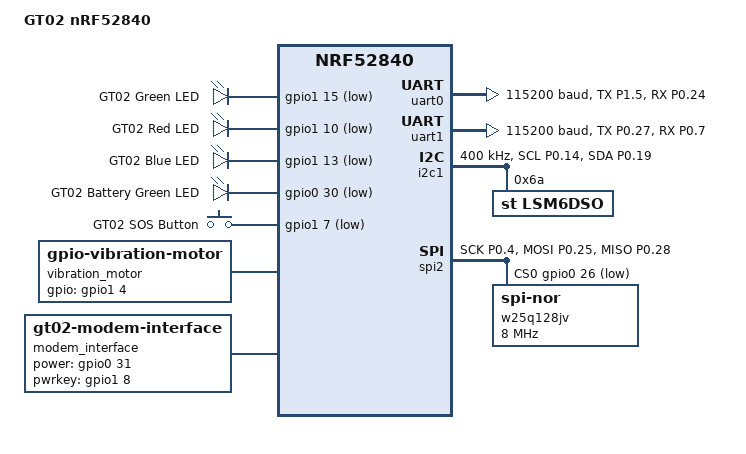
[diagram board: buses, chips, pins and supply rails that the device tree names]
/*
 * GT02 nRF52840板级设备树。
 *
 * DTS只描述真实存在的硬件及连接关系，不描述产品运行策略。
 * 当前包括内部存储器、基础GPIO、UART0日志口、4G硬件接口、LSM6DSO和外部Flash。
 *
 * SPDX-License-Identifier: Apache-2.0
 */

/* 声明这是一个完整的Devicetree源文件。 */
/dts-v1/;

/*
 * 继承Zephyr提供的nRF52840 QIAA SoC描述。
 * 该文件已经定义CPU、1 MB内部Flash、256 KB SRAM和片上外设控制器。
 */
#include <nordic/nrf52840_qiaa.dtsi>
/* 提供INPUT_KEY_0等标准输入事件编号。 */
#include <zephyr/dt-bindings/input/input-event-codes.h>
/* 提供NRF_PSEL()及UART/I2C/SPI引脚复用功能编号。 */
#include <zephyr/dt-bindings/pinctrl/nrf-pinctrl.h>

/* `/`表示整棵设备树的根节点，也就是当前GT02整板。 */
/ {
	/* 人类可读的板型名称，会进入最终生成的设备树。 */
	model = "GT02 nRF52840";
	/* 机器可读兼容字符串，用于唯一描述该板型。 */
	compatible = "others,gt02-nrf52840";

	/* chosen用于告诉Zephyr系统级资源应该选择哪个硬件节点。 */
	chosen {
		/* 选择SoC内部flash0作为程序存储器；当前不指定code-partition。 */
		zephyr,flash = &flash0;
		/* 选择SoC内部sram0作为程序运行时内存。 */
		zephyr,sram = &sram0;
		/* GT02默认日志控制台使用下面配置的UART0。 */
		zephyr,console = &uart0;
	};

	/* 使用Zephyr标准gpio-leds绑定描述由GPIO控制的LED。 */
	leds {
		/* 选择通用gpio-leds驱动模型，应用不需要知道nRF寄存器。 */
		compatible = "gpio-leds";

		/* led_green是可被其他DTS属性引用的节点标签。 */
		led_green: led_green {
			/* 绿色LED接P1.15，GPIO_ACTIVE_LOW表示输出低电平时点亮。 */
			gpios = <&gpio1 15 GPIO_ACTIVE_LOW>;
			/* 供日志、Shell或调试工具显示的人类可读名称。 */
			label = "GT02 Green LED";
		};

		/* 红色LED硬件节点。 */
		led_red: led_red {
			/* 红色LED接P1.10，低电平点亮。 */
			gpios = <&gpio1 10 GPIO_ACTIVE_LOW>;
			/* 红色LED显示名称。 */
			label = "GT02 Red LED";
		};

		/* 蓝色LED硬件节点。 */
		led_blue: led_blue {
			/* 蓝色LED接P1.13，低电平点亮。 */
			gpios = <&gpio1 13 GPIO_ACTIVE_LOW>;
			/* 蓝色LED显示名称。 */
			label = "GT02 Blue LED";
		};

		/* 电池状态绿色LED硬件节点。 */
		led_battery_green: led_battery_green {
			/* 电池绿灯接P0.30，低电平点亮。 */
			gpios = <&gpio0 30 GPIO_ACTIVE_LOW>;
			/* 电池绿灯显示名称。 */
			label = "GT02 Battery Green LED";
		};
	};

	/* 使用Zephyr标准gpio-keys绑定描述GPIO按键。 */
	buttons {
		/* 选择通用GPIO按键模型，后续可配合input或直接GPIO接口使用。 */
		compatible = "gpio-keys";

		/* SOS按键节点，sos_button是其节点标签。 */
		sos_button: button_sos {
			/*
			 * SOS按键接P1.07。
			 * GPIO_PULL_UP启用内部上拉；GPIO_ACTIVE_LOW表示按下时读取为有效状态。
			 */
			gpios = <&gpio1 7 (GPIO_PULL_UP | GPIO_ACTIVE_LOW)>;
			/* SOS按键显示名称。 */
			label = "GT02 SOS Button";
			/* 给该按键分配标准输入键码；它不定义单击、长按等产品行为。 */
			zephyr,code = <INPUT_KEY_0>;
		};
	};

	/* 描述由单个GPIO使能信号控制的板载振动马达。 */
	vibration_motor: vibration-motor {
		/* 使用工程内的GT02 GPIO马达binding描述该硬件能力。 */
		compatible = "gpio-vibration-motor";
		/* 马达驱动使能接P1.04，高电平启动、低电平停止。 */
		gpios = <&gpio1 4 GPIO_ACTIVE_HIGH>;
		/* okay表示该马达控制节点在当前板型上真实存在且可用。 */
		status = "okay";
	};

	/*
	 * 4G模组的板级连接，不声明尚未确认的Air780/NT26具体型号。
	 * 该自定义binding只生成连接信息，不会自动配置GPIO或执行上电时序。
	 */
	modem_interface: modem-interface {
		compatible = "gt02-modem-interface";
		/* UART0已用于日志，因此为4G预留独立的UART1。 */
		uart = <&uart1>;
		/* 旧板宏INVERT=0：MCU端输出高电平有效。 */
		power-gpios = <&gpio0 31 GPIO_ACTIVE_HIGH>;
		pwrkey-gpios = <&gpio1 8 GPIO_ACTIVE_HIGH>;
		status = "okay";
	};

	/* aliases提供稳定的逻辑名称，使应用不依赖上面的具体节点名。 */
	aliases {
		/* 标准led0映射到GT02绿色LED。 */
		led0 = &led_green;
		/* 标准led1映射到GT02红色LED。 */
		led1 = &led_red;
		/* 标准led2映射到GT02蓝色LED。 */
		led2 = &led_blue;
		/* 标准led3映射到GT02电池绿色LED。 */
		led3 = &led_battery_green;
		/* 标准sw0映射到GT02 SOS按键。 */
		sw0 = &sos_button;
		/* motor0为应用提供稳定的马达逻辑名称，不暴露物理引脚。 */
		motor0 = &vibration_motor;
		/* imu0为应用提供稳定的六轴传感器逻辑名称。 */
		imu0 = &lsm6dso;
		/* 外部存储逻辑名；程序仍从chosen中选定的内部flash0启动。 */
		ext-flash0 = &w25q128jv;
		/* 4G适配层从该接口节点获取UART及电源控制GPIO。 */
		modem0 = &modem_interface;
		/* 标准watchdog0映射到nRF52840片上看门狗。 */
		watchdog0 = &wdt0;
	};
};

/*
 * 集中定义板上I2C1、SPI2、UART0日志口和UART1模组接口的引脚状态。
 * 旧工程中的TWI1对应Zephyr的i2c1，SCL和SDA分别连接P0.14与P0.19。
 */
&pinctrl {
	i2c1_default: i2c1_default {
		group1 {
			psels = <NRF_PSEL(TWIM_SCL, 0, 14)>,
				<NRF_PSEL(TWIM_SDA, 0, 19)>;
		};
	};

	i2c1_sleep: i2c1_sleep {
		group1 {
			psels = <NRF_PSEL(TWIM_SCL, 0, 14)>,
				<NRF_PSEL(TWIM_SDA, 0, 19)>;
			low-power-enable;
		};
	};

	/* 沿用旧工程SPI2接线：SCK=P0.04、MOSI=P0.25、MISO=P0.28。 */
	spi2_default: spi2_default {
		group1 {
			psels = <NRF_PSEL(SPIM_SCK, 0, 4)>,
				<NRF_PSEL(SPIM_MOSI, 0, 25)>,
				<NRF_PSEL(SPIM_MISO, 0, 28)>;
		};
	};

	/* 控制器休眠时释放SPI引脚；Flash深度休眠由后续电源切片处理。 */
	spi2_sleep: spi2_sleep {
		group1 {
			psels = <NRF_PSEL(SPIM_SCK, 0, 4)>,
				<NRF_PSEL(SPIM_MOSI, 0, 25)>,
				<NRF_PSEL(SPIM_MISO, 0, 28)>;
			low-power-enable;
		};
	};

	/* 固定日志串口：TX=P1.05、RX=P0.24；RX空闲时保持上拉。 */
	log_uart_default: log_uart_default {
		tx {
			psels = <NRF_PSEL(UART_TX, 1, 5)>;
		};
		rx {
			psels = <NRF_PSEL(UART_RX, 0, 24)>;
			bias-pull-up;
		};
	};

	/* 保留原来的串口低功耗引脚状态，不在本次迁移中改变电源策略。 */
	log_uart_sleep: log_uart_sleep {
		group1 {
			psels = <NRF_PSEL(UART_TX, 1, 5)>,
				<NRF_PSEL(UART_RX, 0, 24)>;
			low-power-enable;
		};
	};

	/* 方向以MCU为准：P0.27发往模组RX，P0.07接模组TX。 */
	modem_uart_default: modem_uart_default {
		tx {
			psels = <NRF_PSEL(UART_TX, 0, 27)>;
		};
		rx {
			psels = <NRF_PSEL(UART_RX, 0, 7)>;
			bias-pull-up;
		};
	};

	/* 这里只声明低功耗引脚状态；不代表已经实现模组休眠/唤醒策略。 */
	modem_uart_sleep: modem_uart_sleep {
		group1 {
			psels = <NRF_PSEL(UART_TX, 0, 27)>,
				<NRF_PSEL(UART_RX, 0, 7)>;
			low-power-enable;
		};
	};
};

/* UART0接线和默认通信参数属于板级描述，应用无需在overlay重复定义。 */
&uart0 {
	compatible = "nordic,nrf-uarte";
	status = "okay";
	current-speed = <115200>;
	/* 当前串口不接RTS/CTS，保持无硬件流控。 */
	/delete-property/ hw-flow-control;
	pinctrl-0 = <&log_uart_default>;
	pinctrl-1 = <&log_uart_sleep>;
	pinctrl-names = "default", "sleep";
};

/* 4G UART接线沿用旧gt02_4g；由S1适配层在模组上电后初始化。 */
&uart1 {
	compatible = "nordic,nrf-uarte";
	status = "okay";
	/* 有设备实例但不在main之前初始化；关闭S1时也不会自动驱动串口线。 */
	zephyr,deferred-init;
	current-speed = <115200>;
	data-bits = <8>;
	parity = "none";
	stop-bits = "1";
	/delete-property/ hw-flow-control;
	pinctrl-0 = <&modem_uart_default>;
	pinctrl-1 = <&modem_uart_sleep>;
	pinctrl-names = "default", "sleep";
};

/* 启用带EasyDMA的TWIM1控制器，并描述挂载在该总线上的LSM6DSO。 */
&i2c1 {
	compatible = "nordic,nrf-twim";
	status = "okay";
	clock-frequency = <I2C_BITRATE_FAST>;
	pinctrl-0 = <&i2c1_default>;
	pinctrl-1 = <&i2c1_sleep>;
	pinctrl-names = "default", "sleep";

	/* SA0在GT02硬件上选择0x6A地址；INT1和INT2均未连接。 */
	lsm6dso: lsm6dso@6a {
		compatible = "st,lsm6dso";
		reg = <0x6a>;
		status = "okay";
	};
};

/* 外部NOR使用独立SPIM2，与IMU的TWIM1分别由Zephyr管理。 */
&spi2 {
	compatible = "nordic,nrf-spim";
	status = "okay";
	pinctrl-0 = <&spi2_default>;
	pinctrl-1 = <&spi2_sleep>;
	pinctrl-names = "default", "sleep";
	/* reg=<0>对应这张片选列表的第0项，片选低有效。 */
	cs-gpios = <&gpio0 26 GPIO_ACTIVE_LOW>;

	w25q128jv: flash@0 {
		/* 使用Zephyr已有SPI NOR binding和驱动，无需自建W25Q binding。 */
		compatible = "jedec,spi-nor";
		reg = <0>;
		spi-max-frequency = <8000000>;
		/* 此属性单位是bit：128 Mbit = 16 MiB，不是128 MB。 */
		size = <0x08000000>;
		/* SFDP_RUNTIME读取实际参数；适配器检查旧端口支持的两种ID。 */
		status = "okay";
	};
};

/* 启用nRF的GPIOTE外设，后续按键GPIO中断需要它。 */
&gpiote {
	/* okay表示该硬件节点可以由Zephyr创建设备实例。 */
	status = "okay";
};

/* 启用P0端口；蓝色LED位于该端口。 */
&gpio0 {
	/* okay表示允许GPIO驱动管理P0引脚。 */
	status = "okay";
};

/* 启用P1端口；其余LED和SOS按键位于该端口。 */
&gpio1 {
	/* okay表示允许GPIO驱动管理P1引脚。 */
	status = "okay";
};
